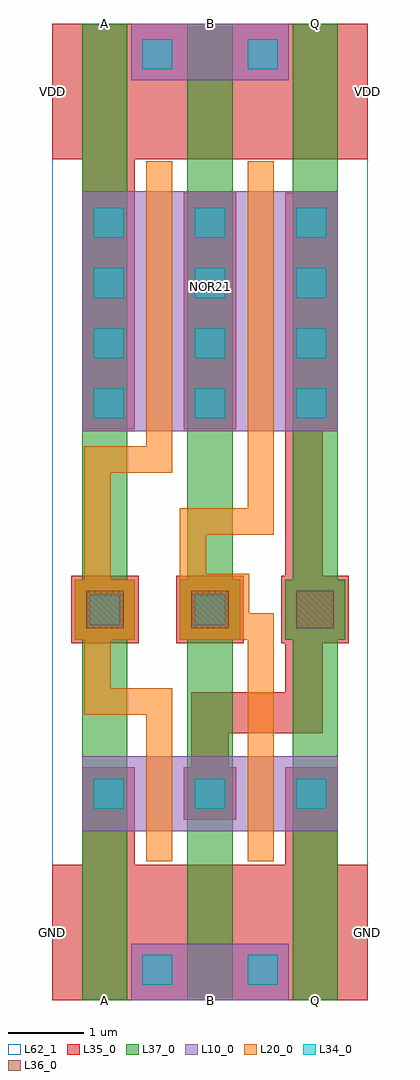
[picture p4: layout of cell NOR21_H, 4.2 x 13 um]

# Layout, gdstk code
import gdstk
lib = gdstk.Library(unit=1e-6, precision=1e-09)
def R(c, l, rs):  # rectangles x0, y0, x1, y1
    for r in rs: c.add(gdstk.rectangle(r[:2], r[2:], *l))
def A(c, l, x, y, w, h, nx, ny, dx, dy):  # array of equal rectangles
    R(c, l, [(x+i*dx, y+j*dy, x+i*dx+w, y+j*dy+h) for i in range(nx) for j in range(ny)])
def P(c, l, *ps):  # polygons
    for p in ps: c.add(gdstk.Polygon(p, *l))
L10_0 = (10, 0)
L20_0 = (20, 0)
L34_0 = (34, 0)
L35_0 = (35, 0)
L36_0 = (36, 0)
L37_0 = (37, 0)
L62_1 = (62, 1)

nor21_h = lib.new_cell('NOR21_H')
R(nor21_h, L10_0, [(1.05,0,3.15,0.75), (0.4,2.25,3.8,3.25), (0.4,7.575,3.8,10.775), (1.05,12.25,3.15,13)])
P(nor21_h, L20_0, [(2.95,5.15),(2.625,5.15),(2.625,5.675),(2.05,5.675),(2.05,6.2),(2.95,6.2),(2.95,11.175),(2.6,11.175),(2.6,6.55),(1.7,6.55),(1.7,4.8),(2.6,4.8),(2.6,1.85),(2.95,1.85)],
  [(1.6,4.15),(0.775,4.15),(0.775,4.8),(1.1,4.8),(1.1,5.6),(0.775,5.6),(0.775,7.025),(1.6,7.025),(1.6,11.175),(1.25,11.175),(1.25,7.375),(0.425,7.375),(0.425,5.6),(0.3,5.6),(0.3,4.8),(0.425,4.8),(0.425,3.8),(1.25,3.8),(1.25,1.85),(1.6,1.85)])
A(nor21_h, L34_0, 0.55, 2.55, 0.4, 0.4, 3, 2, 1.35, 5.2)
A(nor21_h, L34_0, 0.55, 8.55, 0.4, 0.4, 3, 3, 1.35, 0.8)
R(nor21_h, L34_0, [(1.2,0.2,1.6,0.6), (2.6,0.2,3,0.6), (0.5,5,0.9,5.4), (1.9,5,2.3,5.4), (1.2,12.4,1.6,12.8), (2.6,12.4,3,12.8)])
R(nor21_h, L35_0, [(0.25,4.75,1.15,5.65), (0.25,4.75,1.15,5.65), (1.65,4.75,2.55,5.65), (1.65,4.75,2.55,5.65), (3.05,4.75,3.95,5.65), (1.75,7.6,2.45,10.75)])
P(nor21_h, L35_0, [(3.95,5.65),(3.6,5.65),(3.6,7.6),(3.8,7.6),(3.8,10.75),(3.1,10.75),(3.1,5.65),(3.05,5.65),(3.05,4.75),(3.1,4.75),(3.1,4.1),(1.85,4.1),(1.85,3.1),(1.75,3.1),(1.75,2.4),(2.45,2.4),(2.45,3.1),(2.35,3.1),(2.35,3.55),(3.6,3.55),(3.6,4.75),(3.95,4.75)],
  [(4.2,13),(0,13),(0,11.2),(0.4,11.2),(0.4,7.6),(1.1,7.6),(1.1,11.2),(4.2,11.2)],
  [(4.2,1.8),(3.8,1.8),(3.8,3.1),(3.1,3.1),(3.1,1.8),(1.1,1.8),(1.1,3.1),(0.4,3.1),(0.4,1.8),(0,1.8),(0,0),(4.2,0)])
A(nor21_h, L36_0, 0.45, 4.95, 0.5, 0.5, 3, 1, 1.4, 0)
A(nor21_h, L37_0, 0.4, 0, 0.6, 13, 3, 1, 1.4, 0)
A(nor21_h, L37_0, 0.3, 4.8, 0.8, 0.8, 3, 1, 1.4, 0)
R(nor21_h, L62_1, [(0,0,4.2,13)])
nor21_h.add(gdstk.Label('NOR21', (2.1,9.5), layer=61, texttype=2))
nor21_h.add(gdstk.Label('A', (0.7,13), layer=37, texttype=0))
nor21_h.add(gdstk.Label('B', (2.1,13), layer=37, texttype=0))
nor21_h.add(gdstk.Label('Q', (3.5,13), layer=37, texttype=0))
nor21_h.add(gdstk.Label('GND', (4.2,0.9), layer=35, texttype=0))
nor21_h.add(gdstk.Label('GND', (0,0.9), layer=35, texttype=0))
nor21_h.add(gdstk.Label('VDD', (4.2,12.1), layer=35, texttype=0))
nor21_h.add(gdstk.Label('VDD', (0,12.1), layer=35, texttype=0))
nor21_h.add(gdstk.Label('A', (0.7,0), layer=37, texttype=0))
nor21_h.add(gdstk.Label('B', (2.1,0), layer=37, texttype=0))
nor21_h.add(gdstk.Label('Q', (3.5,0), layer=37, texttype=0))

lib.write_gds('NOR21_H.gds')
